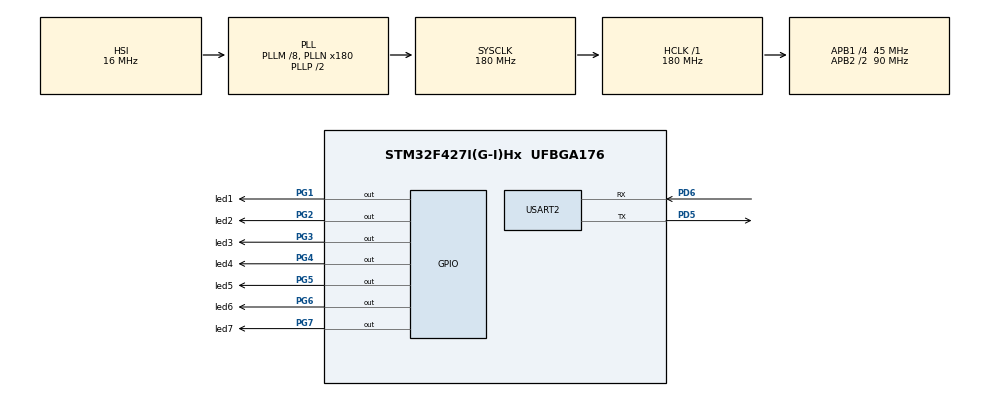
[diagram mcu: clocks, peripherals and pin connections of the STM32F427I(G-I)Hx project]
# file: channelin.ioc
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Mcu.Family=STM32F4
Mcu.Name=STM32F427I(G-I)Hx
Mcu.Package=UFBGA176
NVIC.PriorityGroup=NVIC_PRIORITYGROUP_4
NVIC.USART2_IRQn=true\:0\:0\:false\:false\:true\:true\:true\:true
PA13.Mode=Serial_Wire
PA13.Signal=SYS_JTMS-SWDIO
PA14.Mode=Serial_Wire
PA14.Signal=SYS_JTCK-SWCLK
PD5.Mode=Asynchronous
PD5.Signal=USART2_TX
PD6.Mode=Asynchronous
PD6.Signal=USART2_RX
PG1.GPIO_Label=led1
PG1.Signal=GPIO_Output
PG2.GPIO_Label=led2
PG2.Signal=GPIO_Output
PG3.GPIO_Label=led3
PG3.Signal=GPIO_Output
PG4.GPIO_Label=led4
PG4.Signal=GPIO_Output
PG5.GPIO_Label=led5
PG5.Signal=GPIO_Output
PG6.GPIO_Label=led6
PG6.Signal=GPIO_Output
PG7.GPIO_Label=led7
PG7.Signal=GPIO_Output
ProjectManager.HeapSize=0x200
ProjectManager.StackSize=0x400
ProjectManager.TargetToolchain=Makefile
RCC.48MHZClocksFreq_Value=90000000
RCC.AHBFreq_Value=180000000
RCC.APB1CLKDivider=RCC_HCLK_DIV4
RCC.APB1Freq_Value=45000000
RCC.APB1TimFreq_Value=90000000
RCC.APB2CLKDivider=RCC_HCLK_DIV2
RCC.APB2Freq_Value=90000000
RCC.APB2TimFreq_Value=180000000
RCC.CortexFreq_Value=180000000
RCC.HCLKFreq_Value=180000000
RCC.HSE_VALUE=25000000
RCC.HSI_VALUE=16000000
RCC.LSE_VALUE=32768
RCC.PLLM=8
RCC.PLLN=180
RCC.SYSCLKFreq_VALUE=180000000
RCC.SYSCLKSource=RCC_SYSCLKSOURCE_PLLCLK
RCC.VCOOutputFreq_Value=360000000
USART2.VirtualMode=VM_ASYNC
board=custom

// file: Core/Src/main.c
/* USER CODE BEGIN Header */
/**
  ******************************************************************************
  * @file           : main.c
  * @brief          : Main program body
  ******************************************************************************
  * @attention
  *
  * Copyright (c) 2024 STMicroelectronics.
  * All rights reserved.
  *
  * This software is licensed under terms that can be found in the LICENSE file
  * in the root directory of this software component.
  * If no LICENSE file comes with this software, it is provided AS-IS.
  *
  ******************************************************************************
  */
/* USER CODE END Header */
#include "main.h"
#include "usart.h"
#include "gpio.h"

/* USER CODE BEGIN Includes */
void led_proc()
{
  HAL_GPIO_ReadPin(GPIOG,led7_Pin);
  HAL_Delay(100);
  HAL_GPIO_WritePin(GPIOG,led7_Pin,1);
  HAL_Delay(100);
	HAL_GPIO_ReadPin(GPIOG,led6_Pin);
  HAL_Delay(100);
	HAL_GPIO_WritePin(GPIOG,led6_Pin,1);
  HAL_Delay(100);
	HAL_GPIO_ReadPin(GPIOG,led5_Pin);
  HAL_Delay(100);
	HAL_GPIO_WritePin(GPIOG,led5_Pin,1);
  HAL_Delay(100);
  HAL_GPIO_ReadPin(GPIOG,led4_Pin);
  HAL_Delay(100);
  HAL_GPIO_WritePin(GPIOG,led4_Pin,1);
  HAL_Delay(100);
	HAL_GPIO_ReadPin(GPIOG,led3_Pin);
  HAL_Delay(100);
	HAL_GPIO_WritePin(GPIOG,led3_Pin,1);
  HAL_Delay(100);
	HAL_GPIO_ReadPin(GPIOG,led2_Pin);
  HAL_Delay(100);
	HAL_GPIO_WritePin(GPIOG,led2_Pin,1);
  HAL_Delay(100);
  HAL_GPIO_ReadPin(GPIOG,led1_Pin);
  HAL_Delay(100);
	HAL_GPIO_WritePin(GPIOG,led1_Pin,1);
  HAL_Delay(100);
}
/* USER CODE END Includes */

void SystemClock_Config(void);

int main(void)
{

  /* MCU Configuration--------------------------------------------------------*/

  /* Reset of all peripherals, Initializes the Flash interface and the Systick. */
  HAL_Init();

  /* Configure the system clock */
  SystemClock_Config();

  /* Initialize all configured peripherals */
  MX_GPIO_Init();
  MX_USART2_UART_Init();

  /* Infinite loop */
  while (1)
  {
    led_proc();
  }
}

void SystemClock_Config(void)
{
  RCC_OscInitTypeDef RCC_OscInitStruct = {0};
  RCC_ClkInitTypeDef RCC_ClkInitStruct = {0};

  /** Configure the main internal regulator output voltage
  */
  __HAL_RCC_PWR_CLK_ENABLE();
  __HAL_PWR_VOLTAGESCALING_CONFIG(PWR_REGULATOR_VOLTAGE_SCALE1);

  /** Initializes the RCC Oscillators according to the specified parameters
  * in the RCC_OscInitTypeDef structure.
  */
  RCC_OscInitStruct.OscillatorType = RCC_OSCILLATORTYPE_HSI;
  RCC_OscInitStruct.HSIState = RCC_HSI_ON;
  RCC_OscInitStruct.HSICalibrationValue = RCC_HSICALIBRATION_DEFAULT;
  RCC_OscInitStruct.PLL.PLLState = RCC_PLL_ON;
  RCC_OscInitStruct.PLL.PLLSource = RCC_PLLSOURCE_HSI;
  RCC_OscInitStruct.PLL.PLLM = 8;
  RCC_OscInitStruct.PLL.PLLN = 180;
  RCC_OscInitStruct.PLL.PLLP = RCC_PLLP_DIV2;
  RCC_OscInitStruct.PLL.PLLQ = 4;
  if (HAL_RCC_OscConfig(&RCC_OscInitStruct) != HAL_OK)
  {
    Error_Handler();
  }

  /** Activate the Over-Drive mode
  */
  if (HAL_PWREx_EnableOverDrive() != HAL_OK)
  {
    Error_Handler();
  }

  /** Initializes the CPU, AHB and APB buses clocks
  */
  RCC_ClkInitStruct.ClockType = RCC_CLOCKTYPE_HCLK|RCC_CLOCKTYPE_SYSCLK
                              |RCC_CLOCKTYPE_PCLK1|RCC_CLOCKTYPE_PCLK2;
  RCC_ClkInitStruct.SYSCLKSource = RCC_SYSCLKSOURCE_PLLCLK;
  RCC_ClkInitStruct.AHBCLKDivider = RCC_SYSCLK_DIV1;
  RCC_ClkInitStruct.APB1CLKDivider = RCC_HCLK_DIV4;
  RCC_ClkInitStruct.APB2CLKDivider = RCC_HCLK_DIV2;

  if (HAL_RCC_ClockConfig(&RCC_ClkInitStruct, FLASH_LATENCY_5) != HAL_OK)
  {
    Error_Handler();
  }
}

void Error_Handler(void)
{
  __disable_irq();
  while (1)
  {
  }
}
